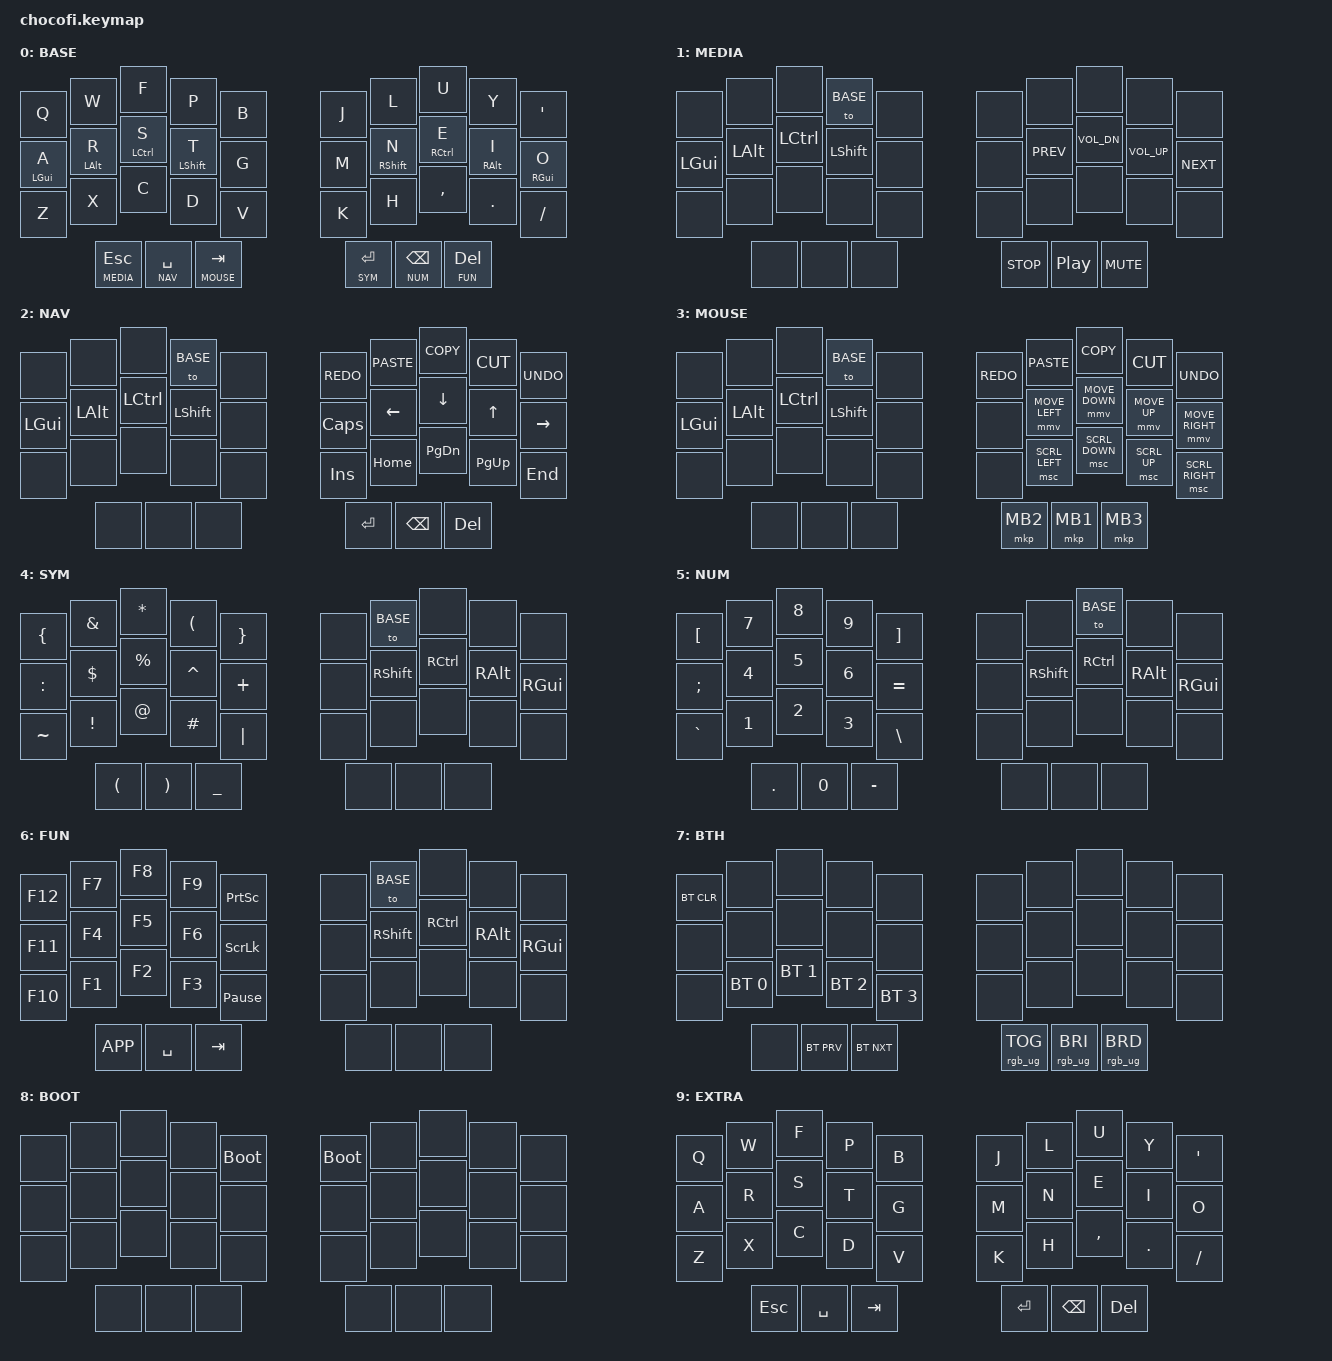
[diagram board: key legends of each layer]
#include <behaviors.dtsi>
#include <dt-bindings/zmk/bt.h>
#include <dt-bindings/zmk/keys.h>
#include <dt-bindings/zmk/pointing.h>
#include <dt-bindings/led/led.h>
#include <dt-bindings/zmk/rgb.h>

#define BASE  0
#define MEDIA 1
#define NAV   2
#define MOUSE 3
#define SYM   4
#define NUM   5
#define FUN   6
#define BTH   7
#define BOOT  8
#define EXTRA 9

/ {
  behaviors {
    hm: homerow_mods {
      compatible = "zmk,behavior-hold-tap";
      #binding-cells = <2>;
      tapping-term-ms = <280>;
      quick-tap-ms = <175>;
      require-prior-idle-ms = <150>;
      flavor = "balanced";
      bindings = <&kp>, <&kp>;
      hold-trigger-on-release;
    };
  };
  combos {
    compatible = "zmk,combos";
    combo_bth {
      timeout-ms = <50>;
      key-positions = <4 5>;
      bindings = <&to BTH>;
      layers = <BASE>;
      require-prior-idle-ms = <300>;
    };
    combo_exit_bth {
      timeout-ms = <50>;
      key-positions = <3 6>;
      bindings = <&to BASE>;
      layers = <BTH>;
    };
    combo_boot {
      timeout-ms = <50>;
      key-positions = <0 9>;
      bindings = <&to BOOT>;
      layers = <BASE>;
      require-prior-idle-ms = <300>;
    };
    combo_exit_boot {
      timeout-ms = <50>;
      key-positions = <3 6>;
      bindings = <&to BASE>;
      layers = <BOOT>;
    };
    combo_extra {
      timeout-ms = <50>;
      key-positions = <2 7>;
      bindings = <&to EXTRA>;
      layers = <BASE>;
      require-prior-idle-ms = <300>;
    };
    combo_exit_extra {
      timeout-ms = <50>;
      key-positions = <3 6>;
      bindings = <&to BASE>;
      layers = <EXTRA>;
    };
  };
  keymap {
    compatible = "zmk,keymap";
    default_layer {
      label = "BASE";
      bindings = <
        &kp Q       &kp W      &kp F         &kp P       &kp B         &kp J       &kp L        &kp U       &kp Y      &kp APOS
        &hm LGUI A  &hm LALT R &hm LCTRL S   &hm LSHFT T &kp G         &kp M       &hm RSHFT N  &hm RCTRL E &hm RALT I &hm RGUI O
        &kp Z       &kp X      &kp C         &kp D       &kp V         &kp K       &kp H        &kp COMMA   &kp DOT    &kp FSLH
                               &lt MEDIA ESC &lt NAV SPC &lt MOUSE TAB &lt SYM RET &lt NUM BSPC &lt FUN DEL
      >;
    };
    media_layer {
      label = "MEDIA";
      bindings = <
        &none    &none    &none     &to BASE  &none &none      &none      &none        &none        &none
        &kp LGUI &kp LALT &kp LCTRL &kp LSHFT &none &none      &kp C_PREV &kp C_VOL_DN &kp C_VOL_UP &kp C_NEXT
        &none    &none    &none     &none     &none &none      &none      &none        &none        &none
                          &none     &none     &none &kp C_STOP &kp C_PP   &kp C_MUTE
      >;
    };
    nav_layer {
      label = "NAV";
      bindings = <
        &none    &none    &none     &to BASE  &none &kp K_REDO &kp K_PASTE &kp K_COPY &kp K_CUT &kp K_UNDO
        &kp LGUI &kp LALT &kp LCTRL &kp LSHFT &none &kp CAPS   &kp LEFT    &kp DOWN   &kp UP    &kp RIGHT
        &none    &none    &none     &none     &none &kp INS    &kp HOME    &kp PG_DN  &kp PG_UP &kp END
                          &none     &none     &none &kp RET    &kp BSPC    &kp DEL
      >;
    };
    mouse_layer {
      label = "MOUSE";
      bindings = <
        &none    &none    &none     &to BASE  &none &kp K_REDO &kp K_PASTE    &kp K_COPY     &kp K_CUT    &kp K_UNDO
        &kp LGUI &kp LALT &kp LCTRL &kp LSHFT &none &none      &mmv MOVE_LEFT &mmv MOVE_DOWN &mmv MOVE_UP &mmv MOVE_RIGHT
        &none    &none    &none     &none     &none &none      &msc SCRL_LEFT &msc SCRL_DOWN &msc SCRL_UP &msc SCRL_RIGHT
                          &none     &none     &none &mkp MB2   &mkp MB1       &mkp MB3
      >;
    };
    sym_layer {
      label = "SYM";
      bindings = <
        &kp LBRC  &kp AMPS &kp STAR  &kp LPAR  &kp RBRC  &none &to BASE   &none     &none    &none
        &kp COLON &kp DLLR &kp PRCNT &kp CARET &kp PLUS  &none &kp RSHIFT &kp RCTRL &kp RALT &kp RGUI
        &kp TILDE &kp EXCL &kp AT    &kp HASH  &kp PIPE  &none &none      &none     &none    &none
                           &kp LPAR  &kp RPAR  &kp UNDER &none &none      &none
      >;
    };
    num_layer {
      label = "NUM";
      bindings = <
        &kp LBKT  &kp N7 &kp N8  &kp N9 &kp RBKT  &none &none      &to BASE  &none    &none
        &kp SEMI  &kp N4 &kp N5  &kp N6 &kp EQUAL &none &kp RSHIFT &kp RCTRL &kp RALT &kp RGUI
        &kp GRAVE &kp N1 &kp N2  &kp N3 &kp BSLH  &none &none      &none     &none    &none
                         &kp DOT &kp N0 &kp MINUS &none &none      &none
      >;
    };
    fun_layer {
      label = "FUN";
      bindings = <
        &kp F12 &kp F7 &kp F8    &kp F9  &kp PRINTSCREEN &none   &to BASE   &none     &none    &none
        &kp F11 &kp F4 &kp F5    &kp F6  &kp SLCK        &none   &kp RSHIFT &kp RCTRL &kp RALT &kp RGUI
        &kp F10 &kp F1 &kp F2    &kp F3  &kp PAUSE_BREAK &none   &none      &none     &none    &none
                       &kp K_APP &kp SPC &kp TAB         &none   &none      &none
      >;
    };
    bth_layer {
      label = "BTH";
      bindings = <
        &bt BT_CLR &none        &none        &none        &none        &none            &none           &none &none &none
        &none      &none        &none        &none        &none        &none            &none           &none &none &none
        &none      &bt BT_SEL 0 &bt BT_SEL 1 &bt BT_SEL 2 &bt BT_SEL 3 &none            &none           &none &none &none
                                &none        &bt BT_PRV   &bt BT_NXT   &rgb_ug RGB_TOG  &rgb_ug RGB_BRI &rgb_ug RGB_BRD
      >;
    };
    boot_layer {
      label = "BOOT";
      bindings = <
        &none &none &none &none &bootloader &bootloader &none &none &none &none
        &none &none &none &none &none       &none       &none &none &none &none
        &none &none &none &none &none       &none       &none &none &none &none
                    &none &none &none       &none       &none &none
      >;
    };
    extra_layer {
      label = "EXTRA";
      bindings = <
        &kp Q &kp W &kp F   &kp P   &kp B   &kp J   &kp L    &kp U     &kp Y   &kp APOS
        &kp A &kp R &kp S   &kp T   &kp G   &kp M   &kp N    &kp E     &kp I   &kp O
        &kp Z &kp X &kp C   &kp D   &kp V   &kp K   &kp H    &kp COMMA &kp DOT &kp FSLH
                    &kp ESC &kp SPC &kp TAB &kp RET &kp BSPC &kp DEL
      >;
    };
  };
};
